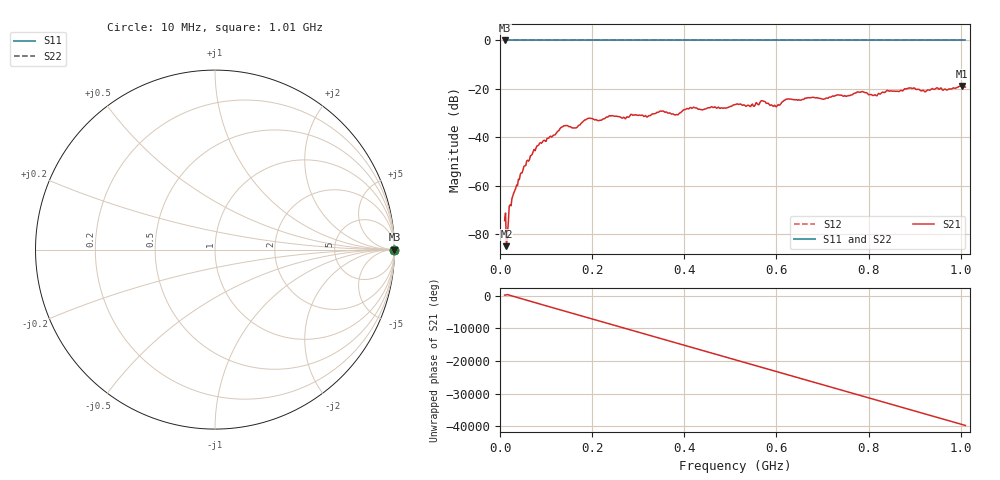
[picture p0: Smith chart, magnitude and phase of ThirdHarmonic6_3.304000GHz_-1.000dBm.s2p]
! 8/17/2025 10:18:38 AM
! C:\ANRITSUVNA\TEMP\TEMP.S2P
! CHANNEL.1
! TR.MEASUREMENT
! RAW.DATA
! RF.CORRECTION.OFF
! AVERAGING.OFF
! IF.BANDWIDTH: 5KHZ
! SWEEPTYPE:  FREQ.SWEEP(Linear)
! Reference Plane Port Info
! PORT:  PORT1  PORT2
! DISTANCE:  0  m  0  m
! TIME:  0  s  0  s
! PHASE.OFFSET:  0  deg.  0  deg.
! LOSS:  0  dB  0  dB
! REF.LOSS:  0  dB  0  dB
! REF.FREQ:  0  Hz  0  Hz
! Power Info
! POWER:  -20  dBm  -20  dBm
! EFF.POWER:  -20  dBm  -20  dBm
! SOURCE.ATTEN:  0  dB  0  dB
! TEST.ATTEN:  0  dB  0  dB
# GHZ S RI R 50.0
! FREQ.GHZ  S11RE  S11IM  S21RE  S21IM  S12RE  S12IM  S22RE  S22IM
!; PortSelection: Port_12
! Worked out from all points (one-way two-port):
!   501 points, 10 MHz to 1.01 GHz, reference 50 ohm
!   highest |S21| = -18.80 dB at 1.002 GHz (marker M1); lowest = -85.1 dB at 14 MHz (marker M2)
!   lowest |S11| = 0.0 dB at 10 MHz (marker M3)
!   |S11| at or under -10 dB: nowhere
!   |S22| runs from 0.0 to 0.0 dB; largest |S21 - S12| = 1.1
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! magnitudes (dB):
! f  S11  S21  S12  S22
! 10 MHz  0.0  -74.5  0.0  0.0
! 14 MHz  0.0  -85.1  0.0  0.0
! 18 MHz  0.0  -75.5  0.0  0.0
! 24 MHz  0.0  -68.4  0.0  0.0
! 44 MHz  0.0  -55.4  0.0  0.0
! 76 MHz  0.0  -45.6  0.0  0.0
! 136 MHz  0.0  -35.7  0.0  0.0
! 162 MHz  0.0  -36.1  0.0  0.0
! 178 MHz  0.0  -33.9  0.0  0.0
! 344 MHz  0.0  -29.7  0.0  0.0
! 382 MHz  0.0  -30.7  0.0  0.0
! 416 MHz  0.0  -28.1  0.0  0.0
! 510 MHz  0.0  -26.5  0.0  0.0
! 570 MHz  0.0  -25.0  0.0  0.0
! 596 MHz  0.0  -26.8  0.0  0.0
! 624 MHz  0.0  -24.3  0.0  0.0
! 678 MHz  0.0  -23.5  0.0  0.0
! 784 MHz  0.0  -21.3  0.0  0.0
! 814 MHz  0.0  -22.4  0.0  0.0
! 844 MHz  0.0  -20.9  0.0  0.0
! 1.002 GHz  0.0  -18.8  0.0  0.0
! 1.01 GHz  0.0  -19.3  0.0  0.0
